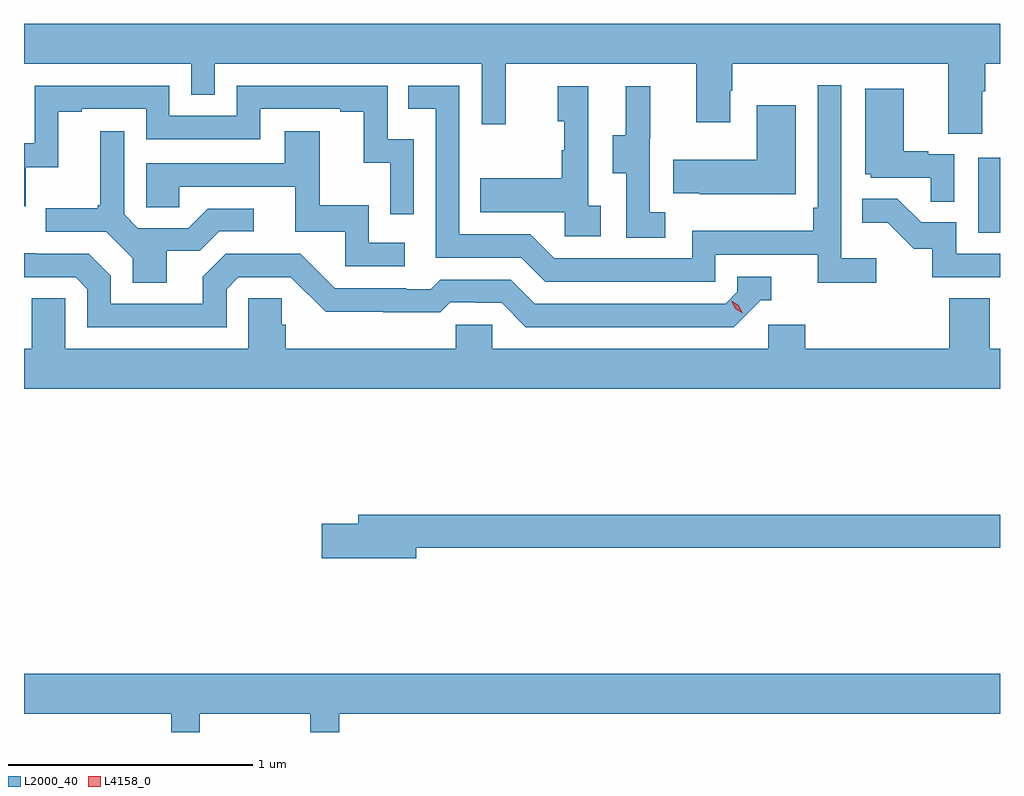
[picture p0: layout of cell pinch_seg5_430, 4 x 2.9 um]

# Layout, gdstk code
import gdstk
lib = gdstk.Library(unit=1e-6, precision=1e-09)
def R(c, l, rs):  # rectangles x0, y0, x1, y1
    for r in rs: c.add(gdstk.rectangle(r[:2], r[2:], *l))
def P(c, l, *ps):  # polygons
    for p in ps: c.add(gdstk.Polygon(p, *l))
L2000_40 = (2000, 40)
L4158_0 = (4158, 0)

pinch_seg5_430 = lib.new_cell('pinch_seg5_430')
R(pinch_seg5_430, L2000_40, [(905.732,869.388,905.822,869.695)])
P(pinch_seg5_430, L2000_40, [(905.749,869.968),(905.762,869.968),(905.762,870.08),(905.822,870.08),(905.822,870.244),(901.822,870.244),(901.822,870.08),(902.508,870.08),(902.508,869.953),(902.604,869.953),(902.604,870.08),(903.699,870.08),(903.699,869.832),(903.797,869.832),(903.797,870.08),(904.577,870.08),(904.577,869.841),(904.717,869.841),(904.717,869.969),(904.725,869.969),(904.725,870.08),(905.609,870.08),(905.609,869.794),(905.749,869.794)],
  [(905.314,869.284),(905.172,869.284),(905.172,869.992),(905.076,869.992),(905.076,869.491),(905.056,869.491),(905.056,869.395),(904.56,869.395),(904.56,869.283),(903.996,869.283),(903.897,869.382),(903.606,869.382),(903.606,869.991),(903.397,869.991),(903.397,869.895),(903.51,869.895),(903.51,869.286),(903.86,869.286),(903.959,869.187),(904.656,869.187),(904.656,869.298),(905.075,869.298),(905.075,869.182),(905.314,869.182)],
  [(903.42,869.772),(903.312,869.772),(903.312,869.991),(902.694,869.991),(902.694,869.868),(902.418,869.868),(902.418,869.991),(901.866,869.991),(901.866,869.755),(901.822,869.755),(901.822,869.496),(901.83,869.496),(901.83,869.657),(901.963,869.657),(901.963,869.883),(902.059,869.883),(902.059,869.895),(902.322,869.895),(902.322,869.772),(902.79,869.772),(902.79,869.895),(903.119,869.895),(903.119,869.883),(903.215,869.883),(903.215,869.675),(903.324,869.675),(903.324,869.463),(903.42,869.463)],
  [(904.45,869.471),(904.386,869.471),(904.386,869.775),(904.388,869.775),(904.388,869.989),(904.289,869.989),(904.289,869.787),(904.235,869.787),(904.235,869.632),(904.29,869.632),(904.29,869.368),(904.45,869.368)],
  [(904.186,869.498),(904.134,869.498),(904.134,869.989),(904.01,869.989),(904.01,869.844),(904.036,869.844),(904.036,869.726),(904.026,869.726),(904.026,869.611),(903.691,869.611),(903.691,869.471),(904.038,869.471),(904.038,869.373),(904.186,869.373)],
  [(905.634,869.709),(905.528,869.709),(905.528,869.722),(905.428,869.722),(905.428,869.977),(905.27,869.977),(905.27,869.628),(905.292,869.628),(905.292,869.613),(905.539,869.613),(905.539,869.515),(905.634,869.515)],
  [(904.984,869.911),(904.826,869.911),(904.826,869.686),(904.483,869.686),(904.483,869.549),(904.591,869.549),(904.591,869.546),(904.984,869.546)],
  [(902.407,869.314),(902.542,869.314),(902.622,869.394),(902.764,869.394),(902.764,869.487),(902.576,869.487),(902.495,869.406),(902.289,869.406),(902.232,869.463),(902.232,869.803),(902.135,869.803),(902.135,869.5),(902.124,869.5),(902.124,869.488),(901.911,869.488),(901.911,869.391),(902.16,869.391),(902.267,869.284),(902.267,869.182),(902.407,869.182)],
  [(903.382,869.346),(903.234,869.346),(903.234,869.5),(903.035,869.5),(903.035,869.803),(902.891,869.803),(902.891,869.673),(902.322,869.673),(902.322,869.493),(902.459,869.493),(902.459,869.577),(902.933,869.577),(902.933,869.391),(903.138,869.391),(903.138,869.25),(903.382,869.25)],
  [(905.822,869.301),(905.643,869.301),(905.643,869.43),(905.499,869.43),(905.401,869.528),(905.257,869.528),(905.257,869.429),(905.361,869.429),(905.468,869.322),(905.545,869.322),(905.545,869.205),(905.822,869.205)],
  [(902.652,869.157),(902.7,869.205),(902.916,869.205),(903.058,869.063),(903.294,869.063),(903.294,869.061),(903.527,869.061),(903.569,869.103),(903.672,869.103),(903.672,869.1),(903.779,869.1),(903.878,869.001),(904.731,869.001),(904.842,869.112),(904.885,869.112),(904.885,869.208),(904.746,869.208),(904.746,869.145),(904.698,869.097),(903.915,869.097),(903.816,869.196),(903.527,869.196),(903.488,869.157),(903.389,869.157),(903.389,869.16),(903.096,869.16),(902.955,869.301),(902.649,869.301),(902.555,869.207),(902.555,869.097),(902.178,869.097),(902.178,869.211),(902.088,869.301),(901.872,869.301),(901.872,869.303),(901.822,869.303),(901.822,869.205),(902.034,869.205),(902.082,869.157),(902.082,869.001),(902.652,869.001)],
  [(905.822,868.912),(905.78,868.912),(905.78,869.12),(905.615,869.12),(905.615,868.912),(905.024,868.912),(905.024,869.01),(904.872,869.01),(904.872,868.912),(903.741,868.912),(903.741,869.01),(903.591,869.01),(903.591,868.912),(902.894,868.912),(902.894,869.01),(902.879,869.01),(902.879,869.12),(902.742,869.12),(902.742,868.912),(901.992,868.912),(901.992,869.12),(901.853,869.12),(901.853,868.912),(901.822,868.912),(901.822,868.748),(905.822,868.748)],
  [(903.43,868.096),(905.822,868.096),(905.822,868.232),(903.191,868.232),(903.191,868.196),(903.042,868.196),(903.042,868.054),(903.43,868.054)],
  [(902.543,867.416),(902.996,867.416),(902.996,867.341),(903.113,867.341),(903.113,867.416),(905.822,867.416),(905.822,867.58),(901.822,867.58),(901.822,867.416),(902.425,867.416),(902.425,867.341),(902.543,867.341)])
P(pinch_seg5_430, L4158_0, [(904.767,869.057),(904.736,869.076),(904.72,869.109),(904.72,869.109),(904.72,869.109),(904.751,869.09),(904.767,869.057),(904.767,869.057)])

lib.write_gds('pinch_seg5_430.gds')
